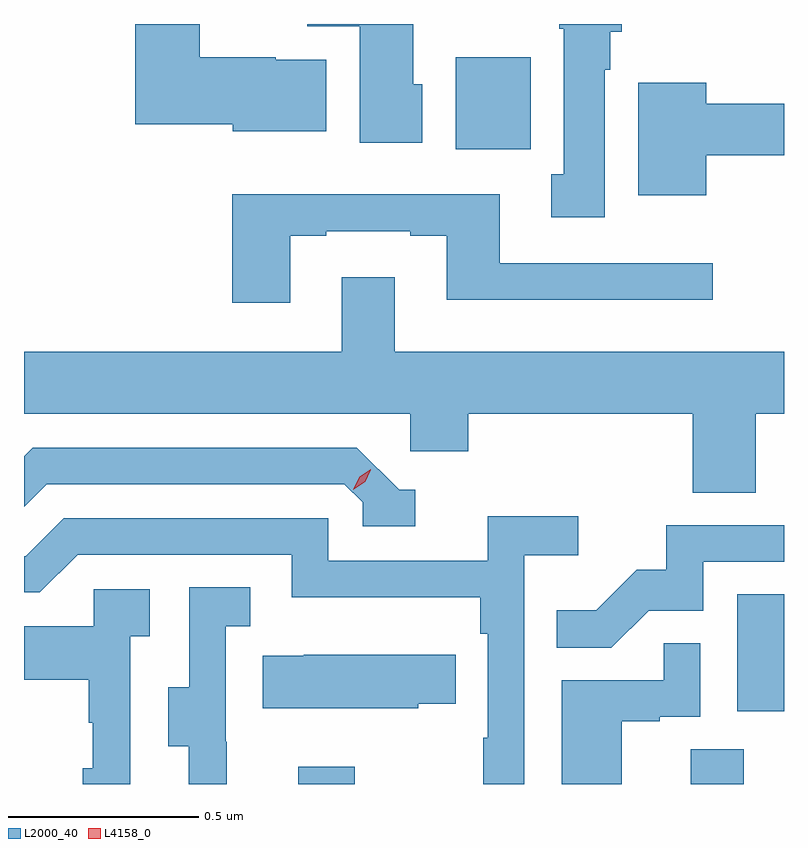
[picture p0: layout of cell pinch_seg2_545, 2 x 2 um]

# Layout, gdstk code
import gdstk
lib = gdstk.Library(unit=1e-6, precision=1e-09)
def R(c, l, rs):  # rectangles x0, y0, x1, y1
    for r in rs: c.add(gdstk.rectangle(r[:2], r[2:], *l))
def P(c, l, *ps):  # polygons
    for p in ps: c.add(gdstk.Polygon(p, *l))
L2000_40 = (2000, 40)
L4158_0 = (4158, 0)

pinch_seg2_545 = lib.new_cell('pinch_seg2_545')
R(pinch_seg2_545, L2000_40, [(1121.693,617.358,1121.841,617.404), (1122.725,617.358,1122.865,617.45), (1122.848,617.55,1122.971,617.857), (1122.107,619.028,1122.304,619.27)])
P(pinch_seg2_545, L2000_40, [(1121.767,619.264),(1121.634,619.264),(1121.634,619.27),(1121.434,619.27),(1121.434,619.358),(1121.264,619.358),(1121.264,619.094),(1121.52,619.094),(1121.52,619.076),(1121.767,619.076)],
  [(1122.019,619.2),(1121.995,619.2),(1121.995,619.358),(1121.716,619.358),(1121.716,619.352),(1121.855,619.352),(1121.855,619.046),(1122.019,619.046)],
  [(1122.499,619.238),(1122.514,619.238),(1122.514,619.338),(1122.544,619.338),(1122.544,619.358),(1122.379,619.358),(1122.379,619.345),(1122.392,619.345),(1122.392,618.962),(1122.359,618.962),(1122.359,618.849),(1122.499,618.849)],
  [(1122.766,619.012),(1122.971,619.012),(1122.971,619.148),(1122.766,619.148),(1122.766,619.204),(1122.587,619.204),(1122.587,618.908),(1122.766,618.908)],
  [(1121.671,618.801),(1121.767,618.801),(1121.767,618.813),(1121.987,618.813),(1121.987,618.801),(1122.083,618.801),(1122.083,618.632),(1122.784,618.632),(1122.784,618.729),(1122.223,618.729),(1122.223,618.91),(1121.519,618.91),(1121.519,618.624),(1121.671,618.624)],
  [(1122.896,618.332),(1122.971,618.332),(1122.971,618.496),(1121.947,618.496),(1121.947,618.691),(1121.807,618.691),(1121.807,618.496),(1120.971,618.496),(1120.971,618.332),(1121.988,618.332),(1121.988,618.234),(1122.14,618.234),(1122.14,618.332),(1122.731,618.332),(1122.731,618.124),(1122.896,618.124)],
  [(1122.001,618.132),(1121.958,618.132),(1121.847,618.243),(1120.994,618.243),(1120.971,618.22),(1120.971,618.087),(1121.031,618.147),(1121.814,618.147),(1121.862,618.099),(1121.862,618.036),(1122.001,618.036)],
  [(1122.288,617.96),(1122.43,617.96),(1122.43,618.062),(1122.191,618.062),(1122.191,617.946),(1121.772,617.946),(1121.772,618.057),(1121.075,618.057),(1120.976,617.958),(1120.971,617.958),(1120.971,617.862),(1121.013,617.862),(1121.112,617.961),(1121.676,617.961),(1121.676,617.849),(1122.172,617.849),(1122.172,617.753),(1122.192,617.753),(1122.192,617.48),(1122.18,617.48),(1122.18,617.358),(1122.288,617.358)],
  [(1122.615,617.814),(1122.759,617.814),(1122.759,617.943),(1122.971,617.943),(1122.971,618.039),(1122.661,618.039),(1122.661,617.922),(1122.584,617.922),(1122.477,617.815),(1122.373,617.815),(1122.373,617.716),(1122.517,617.716)],
  [(1121.504,617.469),(1121.502,617.469),(1121.502,617.773),(1121.566,617.773),(1121.566,617.876),(1121.406,617.876),(1121.406,617.613),(1121.351,617.613),(1121.351,617.458),(1121.405,617.458),(1121.405,617.358),(1121.504,617.358)],
  [(1121.25,617.747),(1121.302,617.747),(1121.302,617.871),(1121.154,617.871),(1121.154,617.773),(1120.971,617.773),(1120.971,617.633),(1121.142,617.633),(1121.142,617.519),(1121.152,617.519),(1121.152,617.4),(1121.126,617.4),(1121.126,617.358),(1121.25,617.358)],
  [(1122.544,617.523),(1122.644,617.523),(1122.644,617.535),(1122.75,617.535),(1122.75,617.729),(1122.655,617.729),(1122.655,617.631),(1122.386,617.631),(1122.386,617.358),(1122.544,617.358)],
  [(1122.009,617.569),(1122.107,617.569),(1122.107,617.698),(1121.707,617.698),(1121.707,617.695),(1121.599,617.695),(1121.599,617.558),(1122.009,617.558)])
P(pinch_seg2_545, L4158_0, [(1121.838,618.133),(1121.838,618.134),(1121.854,618.166),(1121.884,618.186),(1121.884,618.186),(1121.884,618.185),(1121.869,618.153),(1121.838,618.133)])

lib.write_gds('pinch_seg2_545.gds')
